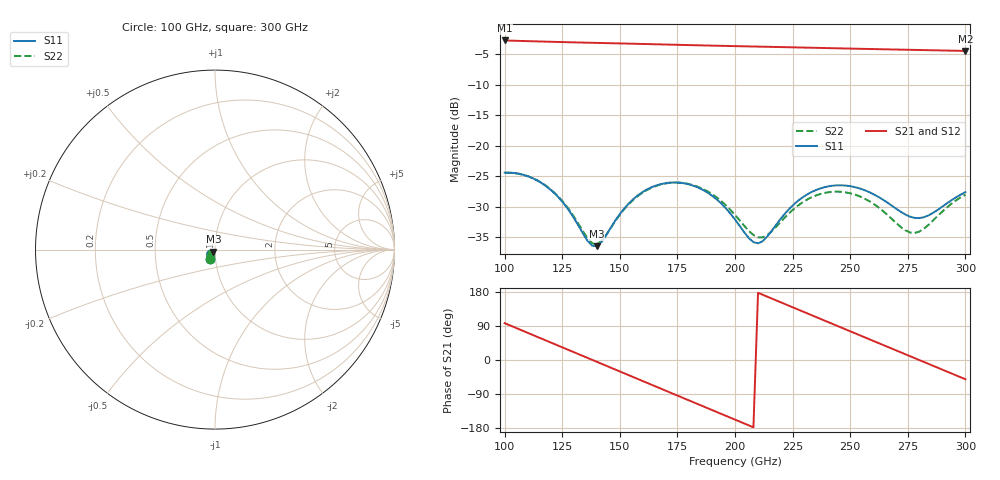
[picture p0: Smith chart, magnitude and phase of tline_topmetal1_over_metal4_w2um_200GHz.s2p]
#  GHZ S DB R 50
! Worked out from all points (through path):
!   101 points, 100 GHz to 300 GHz, reference 50 ohm
!   highest |S21| = -2.72 dB at 100 GHz (marker M1); lowest = -4.4 dB at 300 GHz (marker M2)
!   group delay of S21, straight-line fit = 7.06 ps
!   lowest |S11| = -36.5 dB at 140 GHz (marker M3), VSWR 1.03, Z = 49.1 - j1.17 ohm
!   |S11| at or under -10 dB: start of sweep to end of sweep
!   |S22| runs from -36.2 to -24.4 dB; largest |S21 - S12| = 8.4e-14
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100  -24.41 -115.8  -2.72 97.3  -2.72 97.3  -24.44 -116.1
108  -24.74 -133.3  -2.81 76.8  -2.81 76.8  -24.75 -133.5
118  -26.62 -153.2  -2.91 51.3  -2.91 51.3  -26.57 -153.3
126  -29.62 -164.2  -2.99 31.0  -2.99 31.0  -29.47 -164.2
134  -34.38 -158.8  -3.07 10.6  -3.07 10.6  -34.02 -159.6
140  -36.47 -127.4  -3.12 -4.7  -3.12 -4.7  -36.16 -130.8
154  -29.42 -103.0  -3.24 -40.4  -3.24 -40.4  -29.53 -105.1
168  -26.26 -125.0  -3.37 -76.1  -3.37 -76.1  -26.32 -126.3
182  -26.55 -150.8  -3.49 -111.7  -3.49 -111.7  -26.47 -151.7
192  -28.77 -165.7  -3.58 -137.0  -3.58 -137.0  -28.45 -166.5
200  -32.08 -169.2  -3.65 -157.3  -3.65 -157.3  -31.34 -170.9
210  -36.00 -138.0  -3.73 177.3  -3.73 177.3  -35.02 -149.1
214  -34.89 -120.2  -3.76 167.1  -3.76 167.1  -34.65 -133.8
222  -30.98 -109.6  -3.82 146.8  -3.82 146.8  -31.61 -120.4
234  -27.44 -121.1  -3.92 116.4  -3.92 116.4  -28.32 -129.1
242  -26.56 -133.0  -3.99 96.1  -3.99 96.1  -27.55 -140.5
250  -26.62 -144.8  -4.05 75.8  -4.05 75.8  -27.78 -152.2
268  -29.80 -159.1  -4.19 30.2  -4.19 30.2  -31.98 -164.4
274  -31.28 -153.6  -4.24 15.1  -4.24 15.1  -33.88 -154.0
280  -31.86 -141.7  -4.28 -0.1  -4.28 -0.1  -34.07 -135.1
290  -29.97 -127.1  -4.36 -25.5  -4.36 -25.5  -30.78 -119.9
300  -27.60 -129.6  -4.44 -50.8  -4.44 -50.8  -28.02 -126.1
